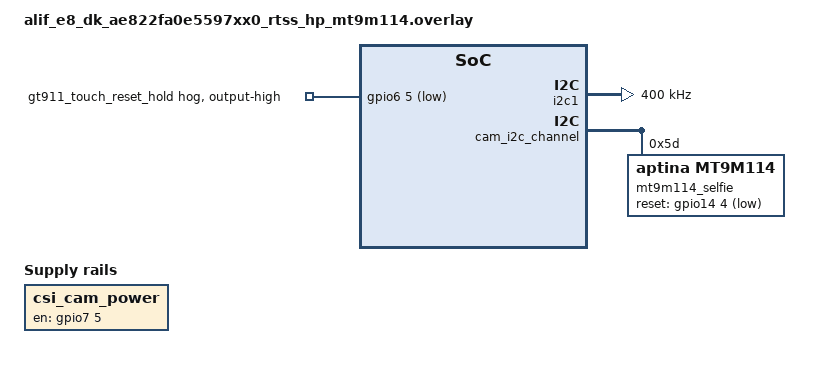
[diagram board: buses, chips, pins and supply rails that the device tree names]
/* Copyright (C) 2026 Alif Semiconductor - All Rights Reserved.
 * Use, distribution and modification of this code are permitted under the
 * terms stated in the Alif Semiconductor Software License Agreement.
 *
 * You should have received a copy of the Alif Semiconductor Software
 * License Agreement with this file. If not, please write to:
 * contact@alifsemi.com, or visit: https://alifsemi.com/license
 *
 * E8 DK (RTSS-HP) - MT9M114 sensor overlay:
 *   MT9M114 (MIPI CSI-2) -> ISP (NV12 1280x720) -> Hantro JPEG encoder -> UVC.
 *
 * Merge this on top of the auto-applied board overlay
 * alif_e8_dk_ae822fa0e5597xx0_rtss_hp.overlay with EXTRA_DTC_OVERLAY_FILE (see
 * the README). The board overlay carries all the common E8 plumbing; this file
 * adds the MT9M114 sensor node, the CSI input endpoint (single data lane), the
 * Fast-mode I2C tuning, the fixed MIPI supply regulator and the GT911 touch
 * reset-hold hog that the MT9M114 needs.
 */

#include <dt-bindings/i2c/i2c.h>
#include <dt-bindings/gpio/gpio.h>
#include <dt-bindings/video/video-interfaces.h>

/* The MT9M114 needs Fast-mode I2C (the board overlay only enables i2c1). */
&i2c1 {
	clock-frequency = <I2C_BITRATE_FAST>;

	/*
	 * For Standard  speed LCNT=0  and HCNT=0
	 * For Fast      speed LCNT=50 and HCNT=30
	 * For Fast Plus speed LCNT=35 and HCNT=5
	 */
	hcnt-offset = <30>;
	lcnt-offset = <50>;
};

/*
 * The MW405 display board's GT911 touch controller shares i2c1 with the camera
 * and defaults to 7-bit address 0x5D - the SAME address as the MT9M114, so the
 * two collide on the bus. Touch is not used here, so hold the GT911 in reset
 * (E8 DK RESETn on gpio6.5, active-low) via a GPIO hog for the life of the
 * board, so it never drives i2c1. output-high asserts the active-low reset.
 * Requires CONFIG_GPIO_HOGS=y (see mt9m114.conf). The ARX3A0 (address 0x36)
 * and OV5675 (0x10) do not collide, so this is only needed for the MT9M114.
 */
&gpio6 {
	status = "okay";

	gt911_touch_reset_hold {
		gpio-hog;
		gpios = <5 GPIO_ACTIVE_LOW>;
		output-high;
	};
};

/ {
	/*
	 * MT9M114 MIPI supply. Unlike the ARX3A0 / OV5675 (which use a plain
	 * power-gpios on the sensor node), the MT9M114 module is powered by a
	 * fixed regulator held on for the life of the board.
	 */
	csi_cam_power: regulator-v1.2-v1.8v {
		compatible = "regulator-fixed";

		regulator-name = "MIPI supply";

		enable-gpios = < &gpio7 5 GPIO_ACTIVE_HIGH >;

		regulator-boot-on;
		regulator-always-on;
		status = "okay";
	};
};

/* MT9M114 (I2C 0x5D) on the camera i2c-mux channel. */
&cam_i2c_channel {
	mt9m114_selfie: mt9m114_selfie@5d {
		compatible = "aptina,mt9m114";
		reg = <0x5d>;

		reset-gpios = <&gpio14 4 GPIO_ACTIVE_LOW>;

		status = "okay";

		port {
			mt9m114_csi2_ep_out0: endpoint {
				bus-type = <VIDEO_BUS_TYPE_CSI2_DPHY>;
				link-frequencies = < 384000000 >;
				data-lanes = <1>;
				clock-lane = <0>;

				remote-endpoint-label = "csi2_ep_in0";
			};
		};
	};
};

/* CSI input endpoint: the MT9M114 uses a single data lane. */
&csi {
	ports {
		port@0 {
			reg = <0>;
			csi2_ep_in0: endpoint {
				bus-type = <VIDEO_BUS_TYPE_CSI2_DPHY>;
				link-frequencies = < 384000000 >;
				data-lanes = <1>;
				clock-lane = <0>;

				remote-endpoint-label = "mt9m114_csi2_ep_out0";
			};
		};
	};
};
